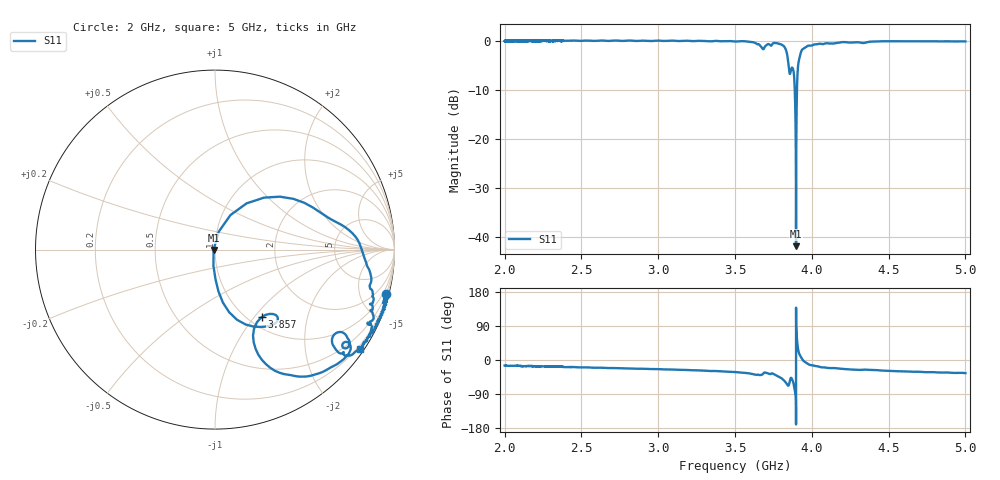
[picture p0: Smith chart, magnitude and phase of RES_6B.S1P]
!Agilent Technologies,E5071C,MY46214220,A.11.31
!Date: Fri Sep 22 10:37:30 2017
!Data & Calibration Information:
!Freq	S11:SOLT1(ON)
!PortZ  Port1:50+j0
!Above PortZ is port z conversion or system Z0 setting when saving the data.
!When reading, reference impedance value at option line is always used.
# Hz S dB R 50
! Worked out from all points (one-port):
!   20000 points, 2 GHz to 5 GHz, reference 50 ohm
!   lowest |S11| = -41.8 dB at 3.897 GHz (marker M1), VSWR 1.02, Z = 49.2 - j0.137 ohm
!   |S11| at or under -10 dB: 3.889068 GHz to 3.903386 GHz (14.32 MHz wide, 0.367 % of centre)
!   S11 on the Smith chart (normalised r, x): 2 GHz: 0.43, -7.84; 3.857 GHz: 1.15, -1.09; 5 GHz: 0.12, -3.21
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2e9  -0.12 -14.5
2.375019e9  -0.04 -18.2
2.750038e9  -0.06 -21.8
3.125056e9  -0.09 -25.8
3.500075e9  -0.20 -31.8
3.627881e9  -0.44 -38.4
3.673184e9  -1.38 -39.2
3.695685e9  -1.19 -33.2
3.757338e9  -0.50 -38.3
3.79994e9  -0.79 -47.4
3.824841e9  -1.45 -56.7
3.842692e9  -3.47 -66.9
3.856793e9  -6.80 -55.4
3.867893e9  -5.62 -48.0
3.875094e9  -5.62 -54.0
3.880044e9  -6.08 -60.2
3.886344e9  -8.06 -74.0
3.897445e9  -41.84 -170.1
3.908095e9  -6.14 36.2
3.914846e9  -4.23 20.4
3.919946e9  -3.53 14.8
3.928196e9  -2.50 8.7
3.950548e9  -1.54 -3.8
3.988049e9  -1.07 -13.0
4.055703e9  -0.65 -18.6
4.250113e9  -0.41 -24.9
4.625131e9  -0.15 -30.4
5e9  -0.19 -34.6
